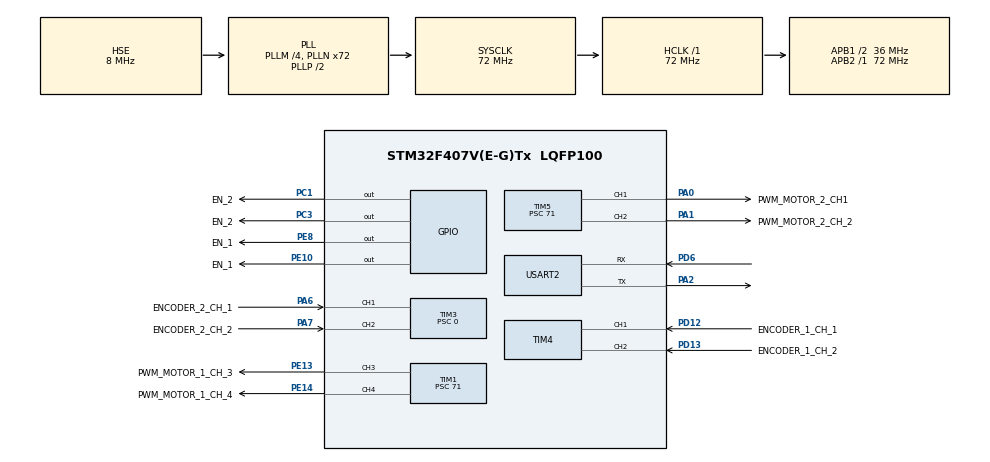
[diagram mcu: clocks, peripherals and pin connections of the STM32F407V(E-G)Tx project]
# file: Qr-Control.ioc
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Mcu.Family=STM32F4
Mcu.Name=STM32F407V(E-G)Tx
Mcu.Package=LQFP100
NVIC.PriorityGroup=NVIC_PRIORITYGROUP_4
NVIC.TIM2_IRQn=true\:0\:0\:false\:false\:true\:true\:true\:true
NVIC.USART2_IRQn=true\:0\:0\:false\:false\:true\:true\:true\:true
PA0-WKUP.GPIO_Label=PWM_MOTOR_2_CH1
PA0-WKUP.Signal=S_TIM5_CH1
PA1.GPIO_Label=PWM_MOTOR_2_CH_2
PA1.Signal=S_TIM5_CH2
PA13.Mode=Serial_Wire
PA13.Signal=SYS_JTMS-SWDIO
PA14.Mode=Serial_Wire
PA14.Signal=SYS_JTCK-SWCLK
PA2.Mode=Asynchronous
PA2.Signal=USART2_TX
PA6.GPIO_Label=ENCODER_2_CH_1
PA6.Signal=S_TIM3_CH1
PA7.GPIO_Label=ENCODER_2_CH_2
PA7.Signal=S_TIM3_CH2
PC1.GPIO_Label=EN_2
PC1.Signal=GPIO_Output
PC3.GPIO_Label=EN_2
PC3.Signal=GPIO_Output
PD12.GPIO_Label=ENCODER_1_CH_1
PD12.Signal=S_TIM4_CH1
PD13.GPIO_Label=ENCODER_1_CH_2
PD13.Signal=S_TIM4_CH2
PD6.Mode=Asynchronous
PD6.Signal=USART2_RX
PE10.GPIO_Label=EN_1
PE10.Signal=GPIO_Output
PE13.GPIO_Label=PWM_MOTOR_1_CH_3
PE13.Signal=S_TIM1_CH3
PE14.GPIO_Label=PWM_MOTOR_1_CH_4
PE14.Signal=S_TIM1_CH4
PE8.GPIO_Label=EN_1
PE8.Signal=GPIO_Output
PH0-OSC_IN.Mode=HSE-External-Oscillator
PH0-OSC_IN.Signal=RCC_OSC_IN
PH1-OSC_OUT.Mode=HSE-External-Oscillator
PH1-OSC_OUT.Signal=RCC_OSC_OUT
ProjectManager.HeapSize=0x200
ProjectManager.StackSize=0x400
ProjectManager.TargetToolchain=STM32CubeIDE
RCC.48MHZClocksFreq_Value=36000000
RCC.AHBFreq_Value=72000000
RCC.APB1CLKDivider=RCC_HCLK_DIV2
RCC.APB1Freq_Value=36000000
RCC.APB1TimFreq_Value=72000000
RCC.APB2Freq_Value=72000000
RCC.APB2TimFreq_Value=72000000
RCC.CortexFreq_Value=72000000
RCC.HCLKFreq_Value=72000000
RCC.HSE_VALUE=8000000
RCC.HSI_VALUE=16000000
RCC.LSE_VALUE=32768
RCC.PLLM=4
RCC.PLLN=72
RCC.PLLSourceVirtual=RCC_PLLSOURCE_HSE
RCC.SYSCLKFreq_VALUE=72000000
RCC.SYSCLKSource=RCC_SYSCLKSOURCE_PLLCLK
RCC.VCOOutputFreq_Value=144000000
SH.S_TIM1_CH3.0=TIM1_CH3,PWM Generation3 CH3
SH.S_TIM1_CH4.0=TIM1_CH4,PWM Generation4 CH4
SH.S_TIM3_CH1.0=TIM3_CH1,Encoder_Interface
SH.S_TIM3_CH2.0=TIM3_CH2,Encoder_Interface
SH.S_TIM4_CH1.0=TIM4_CH1,Encoder_Interface
SH.S_TIM4_CH2.0=TIM4_CH2,Encoder_Interface
SH.S_TIM5_CH1.0=TIM5_CH1,PWM Generation1 CH1
SH.S_TIM5_CH2.0=TIM5_CH2,PWM Generation2 CH2
TIM1.AutoReloadPreload=TIM_AUTORELOAD_PRELOAD_ENABLE
TIM1.Channel-PWM\ Generation3\ CH3=TIM_CHANNEL_3
TIM1.Channel-PWM\ Generation4\ CH4=TIM_CHANNEL_4
TIM1.CounterMode=TIM_COUNTERMODE_CENTERALIGNED3
TIM1.Period=999
TIM1.Prescaler=71
TIM2.Period=3599
TIM2.Prescaler=99
TIM3.AutoReloadPreload=TIM_AUTORELOAD_PRELOAD_ENABLE
TIM3.CounterMode=TIM_COUNTERMODE_UP
TIM3.EncoderMode=TIM_ENCODERMODE_TI12
TIM3.IC1Filter=10
TIM3.IC2Filter=10
TIM3.Period=65535
TIM3.Prescaler=0
TIM4.AutoReloadPreload=TIM_AUTORELOAD_PRELOAD_ENABLE
TIM4.EncoderMode=TIM_ENCODERMODE_TI12
TIM4.IC1Filter=10
TIM4.IC2Filter=10
TIM5.Channel-PWM\ Generation1\ CH1=TIM_CHANNEL_1
TIM5.Channel-PWM\ Generation2\ CH2=TIM_CHANNEL_2
TIM5.CounterMode=TIM_COUNTERMODE_CENTERALIGNED3
TIM5.Period=999
TIM5.Prescaler=71
USART2.VirtualMode=VM_ASYNC
VP_TIM2_VS_ClockSourceINT.Mode=Internal
VP_TIM5_VS_ClockSourceINT.Mode=Internal
board=custom

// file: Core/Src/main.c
/* USER CODE BEGIN Header */
/**
 ******************************************************************************
 * @file           : main.c
 * @brief          : Main program body
 ******************************************************************************
 * @attention
 *
 * Copyright (c) 2023 STMicroelectronics.
 * All rights reserved.
 *
 * This software is licensed under terms that can be found in the LICENSE file
 * in the root directory of this software component.
 * If no LICENSE file comes with this software, it is provided AS-IS.
 *
 ******************************************************************************
 */
/* USER CODE END Header */
#include "main.h"
#include "tim.h"
#include "usart.h"
#include "gpio.h"

/* USER CODE BEGIN Includes */
#include <stdio.h>
#include <stdint.h>
#include <string.h>
#include <stdlib.h>

#include "pid.h"
#include "utils.h"
#include "motor.h"
/* USER CODE END Includes */

/* USER CODE BEGIN PD */
#define MOTOR_1 1
#define MOTOR_2 2
#define SAMPLING_TIME 0.005

/* USER CODE END PD */

/* USER CODE BEGIN PV */
#define SAMPLE_STRING "0360,0045,0045,1,0"
#define ARRAY_CHECKER "1111,1111,1111,1,1"
#define MAX_LEN_DATA 18
void SerialInit(void);
void SerialAcceptReceive(void);

void MotorInit(void);
void MotorSetDuty(uint16_t nDuty, uint8_t channel);
void MotorSetDir(int8_t nDir, uint8_t channel);
void MotorSetRun();
void MotorGetPulse(uint32_t *nPulse, uint8_t motor);
void MotorMovePos(PROFILE_t *tProfile, PID_CONTROL_t *tPIDControl1, PID_CONTROL_t *tPIDControl2, uint8_t dir1, uint8_t dir2);

#define GO_AHEAD 1
#define GO_BACK 0
/* USER CODE END PV */

void SystemClock_Config(void);

/* USER CODE BEGIN 0 */
char dataBuffer[MAX_LEN_DATA];
uint8_t counter_timer = 0;
uint8_t counter_timer_2 = 0;
uint32_t nPulse_counter;

uint32_t g_nActPulse_1;
uint32_t g_nActPulse_2;

uint32_t g_nCmdPulse;
float g_dCmdVel;

uint32_t nPulse1, nPulse1_test;
uint32_t nPulse2, nPulse2_test;

PID_CONTROL_t tPID_1, tPID_2;
PROFILE_t tProfile;

uint8_t tProcess;
ArrData_t arrData1;
uint32_t g_nActPulse_1, g_nActPulse_2;

uint8_t dir1, dir2;
char statusOK[] = "OK\r\n";
uint8_t flag1 = 0;
uint8_t flag2 = 0;

uint32_t deg1 = 0, deg2 = 0;
int32_t dutyCycle_global_1 = 0,  dutyCycle_global_2 = 0;
// void HAL_UART_TxCpltCallback(UART_HandleTypeDef *huart)
//{
//    HAL_UART_Transmit_IT(&huart2, data, sizeof(data));
// }
/* USER CODE END 0 */

int main(void)
{
  /* USER CODE BEGIN 1 */

  // Go ahead
  //  MotorTrapzoidalInit(&tProfile_1, 1000, 90, 45);
  //  MotorTrapzoidalInit(&tProfile_2, 1000, 90, 45);

  // Rotate left
  //  MotorTrapzoidalInit(&tProfile_1, 360, 60, 10, BACK);
  //  MotorTrapzoidalInit(&tProfile_2, 360, 60, 10, BACK);
  // char hehe[] = "hello";
  /* USER CODE END 1 */

  /* MCU Configuration--------------------------------------------------------*/

  /* Reset of all peripherals, Initializes the Flash interface and the Systick. */
  HAL_Init();

  /* Configure the system clock */
  SystemClock_Config();

  /* Initialize all configured peripherals */
  MX_GPIO_Init();
  MX_TIM2_Init();
  MX_TIM3_Init();
  MX_TIM5_Init();
  MX_TIM1_Init();
  MX_USART2_UART_Init();
  MX_TIM4_Init();
  /* USER CODE BEGIN 2 */
  SerialInit();
  MotorInit();
  MotorSetRun();

  tProcess = NONE;

  /* USER CODE END 2 */

  /* Infinite loop */
  /* USER CODE BEGIN WHILE */

  __HAL_TIM_SetCounter(&htim3, 32768);
  __HAL_TIM_SetCounter(&htim4, 32768);
  while (1)
  {
//	  	MotorGetPulse(&nPulse1, MOTOR_1); // get encoder counter
//	   	MotorGetPulse(&nPulse2, MOTOR_2); // get encoder counter
//	   	Motor1Forward();
//	   	Motor2Forward();
//	  	MotorSetDuty(300, MOTOR_1);
//	  	MotorSetDuty(300, MOTOR_2);
    /* USER CODE END WHILE */

  }
}

void SystemClock_Config(void)
{
  RCC_OscInitTypeDef RCC_OscInitStruct = {0};
  RCC_ClkInitTypeDef RCC_ClkInitStruct = {0};

  /** Configure the main internal regulator output voltage
  */
  __HAL_RCC_PWR_CLK_ENABLE();
  __HAL_PWR_VOLTAGESCALING_CONFIG(PWR_REGULATOR_VOLTAGE_SCALE1);

  /** Initializes the RCC Oscillators according to the specified parameters
  * in the RCC_OscInitTypeDef structure.
  */
  RCC_OscInitStruct.OscillatorType = RCC_OSCILLATORTYPE_HSE;
  RCC_OscInitStruct.HSEState = RCC_HSE_ON;
  RCC_OscInitStruct.PLL.PLLState = RCC_PLL_ON;
  RCC_OscInitStruct.PLL.PLLSource = RCC_PLLSOURCE_HSE;
  RCC_OscInitStruct.PLL.PLLM = 4;
  RCC_OscInitStruct.PLL.PLLN = 72;
  RCC_OscInitStruct.PLL.PLLP = RCC_PLLP_DIV2;
  RCC_OscInitStruct.PLL.PLLQ = 4;
  if (HAL_RCC_OscConfig(&RCC_OscInitStruct) != HAL_OK)
  {
    Error_Handler();
  }

  /** Initializes the CPU, AHB and APB buses clocks
  */
  RCC_ClkInitStruct.ClockType = RCC_CLOCKTYPE_HCLK|RCC_CLOCKTYPE_SYSCLK
                              |RCC_CLOCKTYPE_PCLK1|RCC_CLOCKTYPE_PCLK2;
  RCC_ClkInitStruct.SYSCLKSource = RCC_SYSCLKSOURCE_PLLCLK;
  RCC_ClkInitStruct.AHBCLKDivider = RCC_SYSCLK_DIV1;
  RCC_ClkInitStruct.APB1CLKDivider = RCC_HCLK_DIV2;
  RCC_ClkInitStruct.APB2CLKDivider = RCC_HCLK_DIV1;

  if (HAL_RCC_ClockConfig(&RCC_ClkInitStruct, FLASH_LATENCY_2) != HAL_OK)
  {
    Error_Handler();
  }
}

/* USER CODE BEGIN 4 */
void SerialInit(void)
{
  HAL_UART_Receive_IT(&huart2, (uint8_t *)dataBuffer, MAX_LEN_DATA);
}

// receive data
void SerialAcceptReceive(void)
{
  HAL_UART_Receive_IT(&huart2, (uint8_t *)dataBuffer, MAX_LEN_DATA);
}

// interupt uart RX
void HAL_UART_RxCpltCallback(UART_HandleTypeDef *huart)
{
  if (huart->Instance == huart2.Instance)
  {
//    	MotorSetDuty(0, MOTOR_2);
//    	MotorSetDuty(0, MOTOR_1);
    	__HAL_TIM_SetCounter(&htim3, 32768);
	    __HAL_TIM_SetCounter(&htim4, 32768);
	    tProcess = NONE;
	    PIDReset(&tPID_1);
	    PIDReset(&tPID_2);

	    if(!strcmp(dataBuffer, ARRAY_CHECKER)){
	    	HAL_UART_Transmit(&huart2, (uint8_t *)statusOK, sizeof(statusOK), 1000);
	    }
	    else {
	    	 HAL_UART_Transmit(&huart2, (uint8_t *)dataBuffer, MAX_LEN_DATA, 1000);
	    	    arrData1 = ArrProcess(dataBuffer);
	    	    MotorTrapzoidalInit(&tProfile, arrData1.pos1, arrData1.vel1, arrData1.acc1);
	    	    dir1 = arrData1.dir1;
	    	    dir2 = arrData1.dir2;
	    	    tProcess = RUN_TEST;

	    }
	    SerialAcceptReceive();
  }
}

// set motor direction

// set (-) pwm
void MotorSetRun()
{
	HAL_GPIO_WritePin(GPIOA, GPIO_PIN_1, GPIO_PIN_RESET);
	HAL_GPIO_WritePin(GPIOC, GPIO_PIN_3, GPIO_PIN_RESET);

	HAL_GPIO_WritePin(GPIOE, GPIO_PIN_14, GPIO_PIN_RESET);
	HAL_GPIO_WritePin(GPIOE, GPIO_PIN_10, GPIO_PIN_RESET);
}

void Motor1Forward()
{
	 HAL_GPIO_WritePin(GPIOE, GPIO_PIN_8, GPIO_PIN_SET);
}

void Motor1Backward()
{
	 HAL_GPIO_WritePin(GPIOE, GPIO_PIN_8, GPIO_PIN_RESET);
}

void Motor2Forward()
{
	 HAL_GPIO_WritePin(GPIOC, GPIO_PIN_1, GPIO_PIN_SET);
}

void Motor2Backward()
{
	HAL_GPIO_WritePin(GPIOC, GPIO_PIN_1, GPIO_PIN_RESET);
}

void MotorSetDuty(uint16_t nDuty, uint8_t channel)
{
  if (channel == MOTOR_1)
  {
	  __HAL_TIM_SET_COMPARE(&htim1, TIM_CHANNEL_3,nDuty);
  }
  else if (channel == MOTOR_2)
  {
	  __HAL_TIM_SET_COMPARE(&htim5, TIM_CHANNEL_1,nDuty);
  }
}

// init params for timer interrupt...
void MotorInit(void)
{
  HAL_TIM_Base_Start_IT(&htim2);

  HAL_TIM_PWM_Start(&htim5, TIM_CHANNEL_2);
  HAL_TIM_PWM_Start(&htim5, TIM_CHANNEL_1);

  HAL_TIM_PWM_Start(&htim1, TIM_CHANNEL_3);
  HAL_TIM_PWM_Start(&htim1, TIM_CHANNEL_4);

  HAL_TIM_Encoder_Start(&htim3, TIM_CHANNEL_1);
  HAL_TIM_Encoder_Start(&htim3, TIM_CHANNEL_2);

  HAL_TIM_Encoder_Start(&htim4, TIM_CHANNEL_1);
  HAL_TIM_Encoder_Start(&htim4, TIM_CHANNEL_2);

  PIDInit(&tPID_1, 3.5, 1.5, 0.2);
  PIDInit(&tPID_2, 3.5, 1.5, 0.2);

  MotorSetDuty(0, MOTOR_1);
  MotorSetDuty(0, MOTOR_2);

}

void MotorGetPulse(uint32_t *nPulse, uint8_t motor)
{
  if (motor == MOTOR_1)
  {
    *nPulse = __HAL_TIM_GetCounter(&htim4);
  }
  else if (motor == MOTOR_2)
  {
    *nPulse = __HAL_TIM_GetCounter(&htim3);
  }
}

/* Reset of all peripherals, Initializes the Flash interface and the Systick. */
void HAL_TIM_PeriodElapsedCallback(TIM_HandleTypeDef *htim)
{

  if (htim->Instance == htim2.Instance)
  {
    switch (tProcess)
    {
    case NONE:
    	break;
    case RUN_TEST:
    	MotorSetRun();
    	MotorMovePos(&tProfile, &tPID_1, &tPID_2, dir1, dir2);
    }
  }
}

void MotorMovePos(PROFILE_t *tProfile, PID_CONTROL_t *tPIDControl1, PID_CONTROL_t *tPIDControl2, uint8_t dir1, uint8_t dir2)
{
  int32_t g_nDutyCycle_1, g_nDutyCycle_2;
  uint32_t g_nActPulse_1_tmp, g_nActPulse_2_tmp;

  MotorGetPulse(&nPulse1, MOTOR_1); // get encoder counter
  MotorGetPulse(&nPulse2, MOTOR_2); // get encoder counter
  if (dir1 == HEAD)
  {
	  if((nPulse1 < 32768) && (tProfile->nTime < 0.5)){

		  nPulse1 = 32768;
	  }
    g_nActPulse_1 = nPulse1 - 32768;
  }
  else
  {
	  if((nPulse1 > 32768) && (tProfile->nTime < 0.5)){
		  nPulse1 = 32768;
	  }
    g_nActPulse_1 = 32768 - nPulse1;
  }

  if (dir2 == HEAD)
  {
	  if((nPulse2 < 32768) && (tProfile->nTime < 0.5)){
		  nPulse2 = 32768;
	  }
	  g_nActPulse_2 = nPulse2 - 32768;
  }
  else
  {
	  if((nPulse2 > 32768) && (tProfile->nTime < 0.5)){
		  nPulse2 = 32768;
	  }
    g_nActPulse_2 = 32768 - nPulse2;
  }

  g_nActPulse_1_tmp = g_nActPulse_1;
  g_nActPulse_2_tmp = g_nActPulse_2;

  float dPosTemp = 0;

  // Profile trapezoidal Speed
  if (tProfile->nTime <= tProfile->dMidStep1)
  {
    dPosTemp = (int32_t)(tProfile->dA1 * tProfile->nTime * tProfile->nTime);
    g_dCmdVel = 2 * tProfile->dA1 * tProfile->nTime;
  }
  else if (tProfile->nTime <= tProfile->dMidStep2)
  {
    dPosTemp = (int32_t)(tProfile->dA2 * tProfile->nTime + tProfile->dB2);
    g_dCmdVel = tProfile->dA2;
  }
  else if (tProfile->nTime <= tProfile->dMidStep3)
  {
    dPosTemp = (int32_t)(tProfile->dA3 * tProfile->nTime * tProfile->nTime + tProfile->dB3 * tProfile->nTime + tProfile->dC3);
    g_dCmdVel = 2 * tProfile->dA3 * tProfile->nTime + tProfile->dB3;
  }
  else
  {
    dPosTemp = tProfile->dPosMax;
  }

  // Control PID
  g_nCmdPulse = ConvertDegToPulse(dPosTemp);

  g_nDutyCycle_1 = (int16_t)PIDCompute(tPIDControl1, g_nCmdPulse, g_nActPulse_1_tmp, SAMPLING_TIME);
  g_nDutyCycle_2 = (int16_t)(PIDCompute(tPIDControl2, g_nCmdPulse, g_nActPulse_2_tmp, SAMPLING_TIME));

  dutyCycle_global_1 = g_nDutyCycle_1;
  dutyCycle_global_2 = g_nDutyCycle_2;

  if (g_nDutyCycle_1 >= 0)
  {
    if (dir1 == HEAD)
    {
    	Motor1Forward();
    }
    else
    {
    	Motor1Backward();
    }
  }
  else if (g_nDutyCycle_1 < 0)
  {
    if (dir1 == HEAD)
    {
    	Motor1Backward();
    }
    else
    {
    	Motor1Forward();
    }
  }

  if (g_nDutyCycle_2 >= 0)
  {
    if (dir2 == HEAD)
    {
    	Motor2Forward();
    }
    else
    {
    	Motor2Backward();
    }
  }
  else if (g_nDutyCycle_2 < 0)
  {

    if (dir2 == HEAD)
    {
    	Motor2Backward();
    }
    else
    {
    	Motor2Forward();

    }
  }
  MotorSetDuty(abs(g_nDutyCycle_1), MOTOR_1);
  MotorSetDuty(abs(g_nDutyCycle_2), MOTOR_2);

  if (tProfile->nTime > tProfile->dMidStep3)
  {
    __HAL_TIM_SetCounter(&htim4, 32768);
    __HAL_TIM_SetCounter(&htim3, 32768);
    dPosTemp = 0;
    g_nDutyCycle_1 = 0;
    g_nDutyCycle_2 = 0;
    g_dCmdVel = 0;
    tProfile->nTime = 0;
    tProcess = NONE;
    MotorSetDuty(0, MOTOR_1);
    MotorSetDuty(0, MOTOR_2);
    PIDReset(&tPID_2);
    PIDReset(&tPID_1);
    HAL_UART_Transmit(&huart2, (uint8_t *)statusOK, sizeof(statusOK), 1000);
  }
  tProfile->nTime += SAMPLING_TIME;
}

/* USER CODE END 4 */

void Error_Handler(void)
{
  __disable_irq();
  while (1)
  {
  }
}
